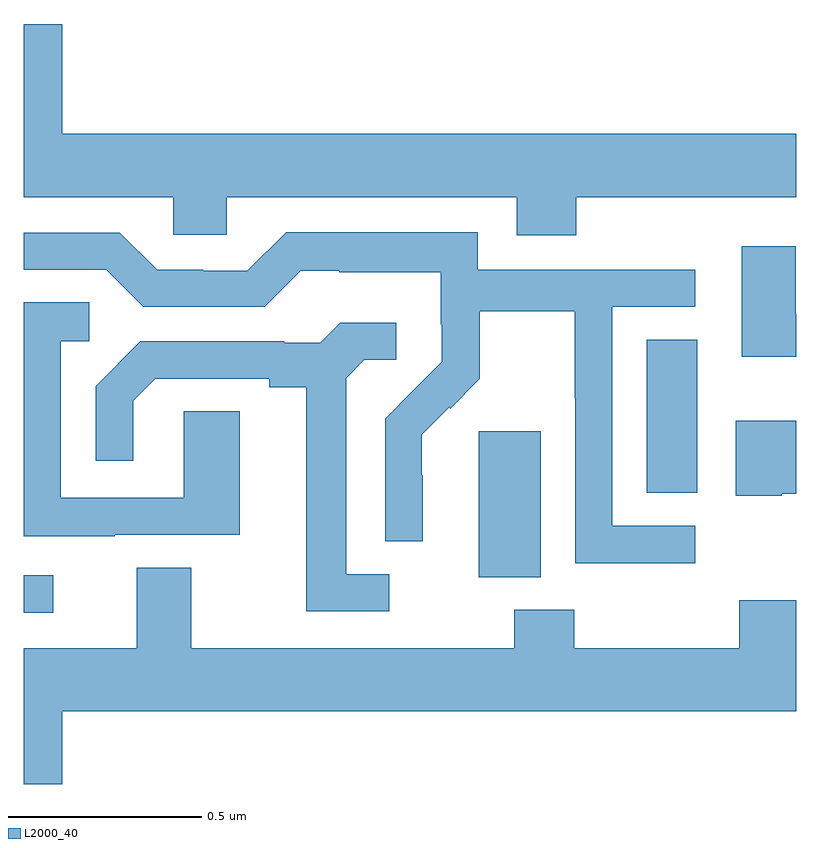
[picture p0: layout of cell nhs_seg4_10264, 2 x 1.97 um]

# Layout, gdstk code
import gdstk
lib = gdstk.Library(unit=1e-6, precision=1e-09)
def R(c, l, rs):  # rectangles x0, y0, x1, y1
    for r in rs: c.add(gdstk.rectangle(r[:2], r[2:], *l))
def P(c, l, *ps):  # polygons
    for p in ps: c.add(gdstk.Polygon(p, *l))
L2000_40 = (2000, 40)

nhs_seg4_10264 = lib.new_cell('nhs_seg4_10264')
R(nhs_seg4_10264, L2000_40, [(237,830.376,237.076,830.472), (238.178,830.468,238.339,830.845), (238.613,830.686,238.744,831.083)])
P(nhs_seg4_10264, L2000_40, [(238.43,831.452),(239,831.452),(239,831.616),(237.1,831.616),(237.1,831.9),(237,831.9),(237,831.452),(237.387,831.452),(237.387,831.354),(237.525,831.354),(237.525,831.452),(238.277,831.452),(238.277,831.353),(238.43,831.353)],
  [(238.738,830.601),(238.524,830.601),(238.524,831.168),(238.738,831.168),(238.738,831.264),(238.176,831.264),(238.176,831.361),(237.679,831.361),(237.579,831.261),(237.464,831.261),(237.464,831.264),(237.345,831.264),(237.249,831.36),(237,831.36),(237,831.264),(237.213,831.264),(237.309,831.168),(237.624,831.168),(237.717,831.261),(237.817,831.261),(237.817,831.257),(238.08,831.257),(238.08,831.123),(238.082,831.123),(238.082,831.026),(238.008,830.952),(238.009,830.951),(237.936,830.878),(237.936,830.56),(238.033,830.56),(238.033,830.732),(238.031,830.732),(238.031,830.837),(238.101,830.907),(238.104,830.904),(238.181,830.981),(238.181,831.156),(238.426,831.156),(238.426,830.932),(238.428,830.932),(238.428,830.503),(238.738,830.503)],
  [(239,831.148),(238.999,831.148),(238.999,831.325),(238.859,831.325),(238.859,831.038),(239,831.038)],
  [(237.235,830.577),(237.559,830.577),(237.559,830.897),(237.414,830.897),(237.414,830.673),(237.096,830.673),(237.096,831.078),(237.169,831.078),(237.169,831.179),(237,831.179),(237,830.573),(237.235,830.573)],
  [(237.946,830.475),(237.835,830.475),(237.835,830.983),(237.882,831.03),(237.964,831.03),(237.964,831.127),(237.82,831.127),(237.768,831.075),(237.674,831.075),(237.674,831.078),(237.302,831.078),(237.186,830.962),(237.186,830.769),(237.283,830.769),(237.283,830.925),(237.34,830.982),(237.635,830.982),(237.635,830.96),(237.731,830.96),(237.731,830.379),(237.946,830.379)],
  [(238.962,830.684),(239,830.684),(239,830.872),(238.844,830.872),(238.844,830.678),(238.962,830.678)],
  [(237.1,830.12),(239,830.12),(239,830.408),(238.852,830.408),(238.852,830.284),(238.425,830.284),(238.425,830.383),(238.27,830.383),(238.27,830.284),(237.433,830.284),(237.433,830.492),(237.293,830.492),(237.293,830.284),(237,830.284),(237,829.932),(237.1,829.932)])

lib.write_gds('nhs_seg4_10264.gds')
